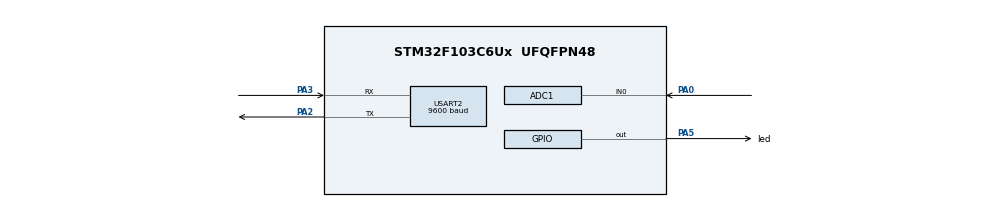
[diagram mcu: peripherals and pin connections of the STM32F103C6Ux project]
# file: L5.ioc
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ADC1.Channel-0\#ChannelRegularConversion=ADC_CHANNEL_0
ADC1.ContinuousConvMode=ENABLE
ADC1.NbrOfConversionFlag=1
ADC1.Rank-0\#ChannelRegularConversion=1
ADC1.SamplingTime-0\#ChannelRegularConversion=ADC_SAMPLETIME_1CYCLE_5
ADC1.master=1
Mcu.Family=STM32F1
Mcu.Name=STM32F103C6Ux
Mcu.Package=UFQFPN48
NVIC.PriorityGroup=NVIC_PRIORITYGROUP_4
NVIC.TIM2_IRQn=true\:0\:0\:false\:false\:true\:true\:true\:true
NVIC.USART2_IRQn=true\:0\:0\:false\:false\:true\:true\:true\:true
PA0-WKUP.Signal=ADCx_IN0
PA2.Mode=Asynchronous
PA2.Signal=USART2_TX
PA3.Mode=Asynchronous
PA3.Signal=USART2_RX
PA5.GPIO_Label=led
PA5.Signal=GPIO_Output
ProjectManager.HeapSize=0x200
ProjectManager.StackSize=0x400
ProjectManager.TargetToolchain=STM32CubeIDE
RCC.APB1Freq_Value=8000000
RCC.APB2Freq_Value=8000000
SH.ADCx_IN0.0=ADC1_IN0,IN0
TIM2.Period=9
TIM2.Prescaler=7999
USART2.BaudRate=9600
USART2.VirtualMode=VM_ASYNC
VP_SYS_VS_ND.Mode=No_Debug
VP_TIM2_VS_ClockSourceINT.Mode=Internal
board=custom

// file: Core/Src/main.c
/* USER CODE BEGIN Header */
/**
  ******************************************************************************
  * @file           : main.c
  * @brief          : Main program body
  ******************************************************************************
  * @attention
  *
  * Copyright (c) 2024 STMicroelectronics.
  * All rights reserved.
  *
  * This software is licensed under terms that can be found in the LICENSE file
  * in the root directory of this software component.
  * If no LICENSE file comes with this software, it is provided AS-IS.
  *
  ******************************************************************************
  */
/* USER CODE END Header */
#include "main.h"

/* USER CODE BEGIN Includes */
#include <stdio.h>
#include <string.h>
#include "software_timer.h"
/* USER CODE END Includes */

ADC_HandleTypeDef hadc1;

TIM_HandleTypeDef htim2;

UART_HandleTypeDef huart2;

void SystemClock_Config(void);
static void MX_GPIO_Init(void);
static void MX_ADC1_Init(void);
static void MX_USART2_UART_Init(void);
static void MX_TIM2_Init(void);

/* USER CODE BEGIN 0 */
#define COMMAND_PARSER_INIT 0
#define COMMAND_PARSER_FIND_CMD 1

#define UART_INIT 3
#define UART_CMD_CHECK 4
#define UART_TRANSMIT 5
#define UART_WAIT 6

#define RST 7
#define OK 8
#define MAX_BUFFER_SIZE 30
uint8_t buffer[MAX_BUFFER_SIZE];
uint8_t index_buffer = 0;
uint8_t buffer_flag = 0;
uint8_t temp = 0;

int command_flag = 0;
int command_data = 0;
int status = 0;
int status1 = 3;

uint32_t ADC_value;

char str[256];

void HAL_UART_RxCpltCallback(UART_HandleTypeDef * huart){
	if(huart -> Instance == USART2){
		HAL_UART_Transmit (&huart2 , &temp , 1, 50);
		buffer[index_buffer++] = temp;
		if(index_buffer >= 30) index_buffer = 0;
		buffer_flag = 1;
		HAL_UART_Receive_IT(&huart2, &temp, 1);
	}
}

void command_parser_fsm(){
    switch (status) {
        case COMMAND_PARSER_INIT:
                status = COMMAND_PARSER_FIND_CMD;
            break;
        case COMMAND_PARSER_FIND_CMD:
            for (int i = 0; i <= 25; i++) {

                if (buffer[i] == '!' && buffer[i+1] == 'R' && buffer[i+2] == 'S' && buffer[i+3] == 'T' && buffer[i+4] == '#')
                {
                    command_flag = 1;
                    command_data = RST;
                    status1 = UART_INIT;
                    for(int j = i; j < i+5; j++)
                    {
                    	buffer[j] = buffer[j+5];
                    }
                }
                if (buffer[i] == '!' && buffer[i+1] == 'O' && buffer[i+2] == 'K' && buffer[i+3] == '#')
                {
                    command_flag = 0;
                    command_data = OK;
                    status1 = UART_INIT;
                    for(int j = i; j < i+4; j++)
                    {
                    	buffer[j] = buffer[j+5];
                    }
                }
            }
            status = COMMAND_PARSER_INIT;
            break;
        default:
            break;
    }
}

void uart_communiation_fsm()
{
    switch (status1) {
        case UART_INIT:
            status1 = UART_CMD_CHECK;
            break;
        case UART_CMD_CHECK:
            if (command_data == RST) {
                status1 = UART_TRANSMIT;
            }
            break;
        case UART_TRANSMIT:
        	ADC_value = HAL_ADC_GetValue(&hadc1);
        	HAL_UART_Transmit(&huart2, (void*)str, sprintf(str, "\r\n%lu\r\n", ADC_value), 1000);
            status1 = UART_WAIT;
            set_timer(1, 1000);
            break;
        case UART_WAIT:
            if (is_timer_expired(1)) {
                status1 = UART_INIT;
            }
            break;
        default:
            break;
    }
}

/* USER CODE END 0 */

int main(void)
{

  /* MCU Configuration--------------------------------------------------------*/

  /* Reset of all peripherals, Initializes the Flash interface and the Systick. */
  HAL_Init();

  /* Configure the system clock */
  SystemClock_Config();

  /* Initialize all configured peripherals */
  MX_GPIO_Init();
  MX_ADC1_Init();
  MX_USART2_UART_Init();
  MX_TIM2_Init();

  /* Infinite loop */
  /* USER CODE BEGIN WHILE */
  HAL_TIM_Base_Start_IT(&htim2);

  HAL_ADC_Start(&hadc1);
  HAL_UART_Receive_IT(&huart2, &temp, 1);
  ADC_value = HAL_ADC_GetValue(&hadc1);
  set_timer(2, 0);

  while (1)
  {
//	  HAL_GPIO_TogglePin(led_GPIO_Port, led_Pin);

//	  HAL_UART_Transmit(&huart2, (void*)str, sprintf(str, "%lu\r\n", ADC_value), 1000);
//	  HAL_Delay (500) ;

	  if(buffer_flag == 1){
		  command_parser_fsm();
		  buffer_flag = 0;
	  }
	  uart_communiation_fsm();

	  if(is_timer_expired(2))
	  {
		  HAL_GPIO_TogglePin(led_GPIO_Port, led_Pin);
		  set_timer(2, 200);
	  }

    /* USER CODE END WHILE */

  }
}

void SystemClock_Config(void)
{
  RCC_OscInitTypeDef RCC_OscInitStruct = {0};
  RCC_ClkInitTypeDef RCC_ClkInitStruct = {0};
  RCC_PeriphCLKInitTypeDef PeriphClkInit = {0};

  /** Initializes the RCC Oscillators according to the specified parameters
  * in the RCC_OscInitTypeDef structure.
  */
  RCC_OscInitStruct.OscillatorType = RCC_OSCILLATORTYPE_HSI;
  RCC_OscInitStruct.HSIState = RCC_HSI_ON;
  RCC_OscInitStruct.HSICalibrationValue = RCC_HSICALIBRATION_DEFAULT;
  RCC_OscInitStruct.PLL.PLLState = RCC_PLL_NONE;
  if (HAL_RCC_OscConfig(&RCC_OscInitStruct) != HAL_OK)
  {
    Error_Handler();
  }

  /** Initializes the CPU, AHB and APB buses clocks
  */
  RCC_ClkInitStruct.ClockType = RCC_CLOCKTYPE_HCLK|RCC_CLOCKTYPE_SYSCLK
                              |RCC_CLOCKTYPE_PCLK1|RCC_CLOCKTYPE_PCLK2;
  RCC_ClkInitStruct.SYSCLKSource = RCC_SYSCLKSOURCE_HSI;
  RCC_ClkInitStruct.AHBCLKDivider = RCC_SYSCLK_DIV1;
  RCC_ClkInitStruct.APB1CLKDivider = RCC_HCLK_DIV1;
  RCC_ClkInitStruct.APB2CLKDivider = RCC_HCLK_DIV1;

  if (HAL_RCC_ClockConfig(&RCC_ClkInitStruct, FLASH_LATENCY_0) != HAL_OK)
  {
    Error_Handler();
  }
  PeriphClkInit.PeriphClockSelection = RCC_PERIPHCLK_ADC;
  PeriphClkInit.AdcClockSelection = RCC_ADCPCLK2_DIV2;
  if (HAL_RCCEx_PeriphCLKConfig(&PeriphClkInit) != HAL_OK)
  {
    Error_Handler();
  }
}

static void MX_ADC1_Init(void)
{

  ADC_ChannelConfTypeDef sConfig = {0};

  /** Common config
  */
  hadc1.Instance = ADC1;
  hadc1.Init.ScanConvMode = ADC_SCAN_DISABLE;
  hadc1.Init.ContinuousConvMode = ENABLE;
  hadc1.Init.DiscontinuousConvMode = DISABLE;
  hadc1.Init.ExternalTrigConv = ADC_SOFTWARE_START;
  hadc1.Init.DataAlign = ADC_DATAALIGN_RIGHT;
  hadc1.Init.NbrOfConversion = 1;
  if (HAL_ADC_Init(&hadc1) != HAL_OK)
  {
    Error_Handler();
  }

  /** Configure Regular Channel
  */
  sConfig.Channel = ADC_CHANNEL_0;
  sConfig.Rank = ADC_REGULAR_RANK_1;
  sConfig.SamplingTime = ADC_SAMPLETIME_1CYCLE_5;
  if (HAL_ADC_ConfigChannel(&hadc1, &sConfig) != HAL_OK)
  {
    Error_Handler();
  }

}

static void MX_TIM2_Init(void)
{

  TIM_ClockConfigTypeDef sClockSourceConfig = {0};
  TIM_MasterConfigTypeDef sMasterConfig = {0};

  htim2.Instance = TIM2;
  htim2.Init.Prescaler = 7999;
  htim2.Init.CounterMode = TIM_COUNTERMODE_UP;
  htim2.Init.Period = 9;
  htim2.Init.ClockDivision = TIM_CLOCKDIVISION_DIV1;
  htim2.Init.AutoReloadPreload = TIM_AUTORELOAD_PRELOAD_DISABLE;
  if (HAL_TIM_Base_Init(&htim2) != HAL_OK)
  {
    Error_Handler();
  }
  sClockSourceConfig.ClockSource = TIM_CLOCKSOURCE_INTERNAL;
  if (HAL_TIM_ConfigClockSource(&htim2, &sClockSourceConfig) != HAL_OK)
  {
    Error_Handler();
  }
  sMasterConfig.MasterOutputTrigger = TIM_TRGO_RESET;
  sMasterConfig.MasterSlaveMode = TIM_MASTERSLAVEMODE_DISABLE;
  if (HAL_TIMEx_MasterConfigSynchronization(&htim2, &sMasterConfig) != HAL_OK)
  {
    Error_Handler();
  }

}

static void MX_USART2_UART_Init(void)
{

  huart2.Instance = USART2;
  huart2.Init.BaudRate = 9600;
  huart2.Init.WordLength = UART_WORDLENGTH_8B;
  huart2.Init.StopBits = UART_STOPBITS_1;
  huart2.Init.Parity = UART_PARITY_NONE;
  huart2.Init.Mode = UART_MODE_TX_RX;
  huart2.Init.HwFlowCtl = UART_HWCONTROL_NONE;
  huart2.Init.OverSampling = UART_OVERSAMPLING_16;
  if (HAL_UART_Init(&huart2) != HAL_OK)
  {
    Error_Handler();
  }

}

static void MX_GPIO_Init(void)
{
  GPIO_InitTypeDef GPIO_InitStruct = {0};

  /* GPIO Ports Clock Enable */
  __HAL_RCC_GPIOA_CLK_ENABLE();

  /*Configure GPIO pin Output Level */
  HAL_GPIO_WritePin(led_GPIO_Port, led_Pin, GPIO_PIN_RESET);

  /*Configure GPIO pin : led_Pin */
  GPIO_InitStruct.Pin = led_Pin;
  GPIO_InitStruct.Mode = GPIO_MODE_OUTPUT_PP;
  GPIO_InitStruct.Pull = GPIO_NOPULL;
  GPIO_InitStruct.Speed = GPIO_SPEED_FREQ_LOW;
  HAL_GPIO_Init(led_GPIO_Port, &GPIO_InitStruct);

}

/* USER CODE BEGIN 4 */
void HAL_TIM_PeriodElapsedCallback(TIM_HandleTypeDef *htim) {
	timer_run();
}
/* USER CODE END 4 */

void Error_Handler(void)
{
  __disable_irq();
  while (1)
  {
  }
}
